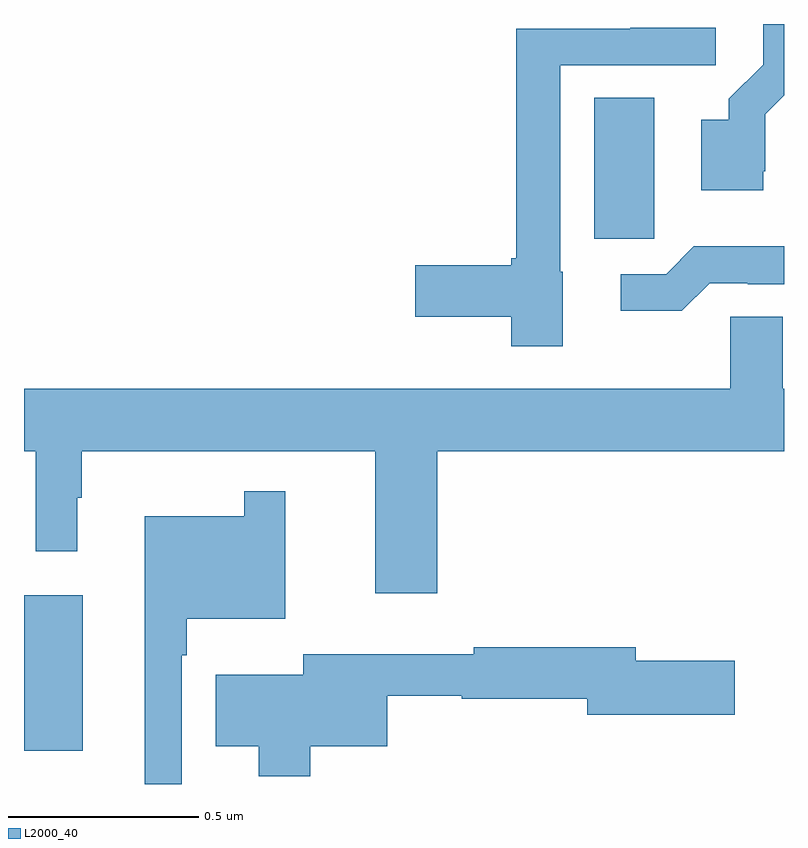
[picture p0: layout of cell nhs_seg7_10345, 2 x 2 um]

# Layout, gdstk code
import gdstk
lib = gdstk.Library(unit=1e-6, precision=1e-09)
def R(c, l, rs):  # rectangles x0, y0, x1, y1
    for r in rs: c.add(gdstk.rectangle(r[:2], r[2:], *l))
def P(c, l, *ps):  # polygons
    for p in ps: c.add(gdstk.Polygon(p, *l))
L2000_40 = (2000, 40)

nhs_seg7_10345 = lib.new_cell('nhs_seg7_10345')
R(nhs_seg7_10345, L2000_40, [(248,1073.087,248.155,1073.497), (249.5,1074.435,249.658,1074.806)])
P(nhs_seg7_10345, L2000_40, [(249.946,1074.612),(249.951,1074.612),(249.951,1074.763),(250,1074.812),(250,1075),(249.945,1075),(249.945,1074.893),(249.854,1074.803),(249.854,1074.748),(249.782,1074.748),(249.782,1074.563),(249.946,1074.563)],
  [(249.418,1074.348),(249.411,1074.348),(249.411,1074.891),(249.82,1074.891),(249.82,1074.99),(249.595,1074.99),(249.595,1074.987),(249.295,1074.987),(249.295,1074.383),(249.282,1074.383),(249.282,1074.365),(249.03,1074.365),(249.03,1074.23),(249.282,1074.23),(249.282,1074.152),(249.418,1074.152)],
  [(249.804,1074.318),(249.904,1074.318),(249.904,1074.315),(250,1074.315),(250,1074.415),(249.763,1074.415),(249.69,1074.342),(249.57,1074.342),(249.57,1074.245),(249.731,1074.245)],
  [(249.088,1073.876),(250,1073.876),(250,1074.04),(249.997,1074.04),(249.997,1074.23),(249.858,1074.23),(249.858,1074.04),(248,1074.04),(248,1073.876),(248.031,1073.876),(248.031,1073.613),(248.14,1073.613),(248.14,1073.753),(248.152,1073.753),(248.152,1073.876),(248.924,1073.876),(248.924,1073.502),(249.088,1073.502)],
  [(248.415,1073.339),(248.428,1073.339),(248.428,1073.435),(248.688,1073.435),(248.688,1073.77),(248.58,1073.77),(248.58,1073.704),(248.318,1073.704),(248.318,1073),(248.415,1073)],
  [(248.753,1073.099),(248.956,1073.099),(248.956,1073.232),(249.152,1073.232),(249.152,1073.224),(249.482,1073.224),(249.482,1073.182),(249.871,1073.182),(249.871,1073.324),(249.61,1073.324),(249.61,1073.36),(249.184,1073.36),(249.184,1073.341),(248.735,1073.341),(248.735,1073.287),(248.504,1073.287),(248.504,1073.099),(248.618,1073.099),(248.618,1073.021),(248.753,1073.021)])

lib.write_gds('nhs_seg7_10345.gds')
